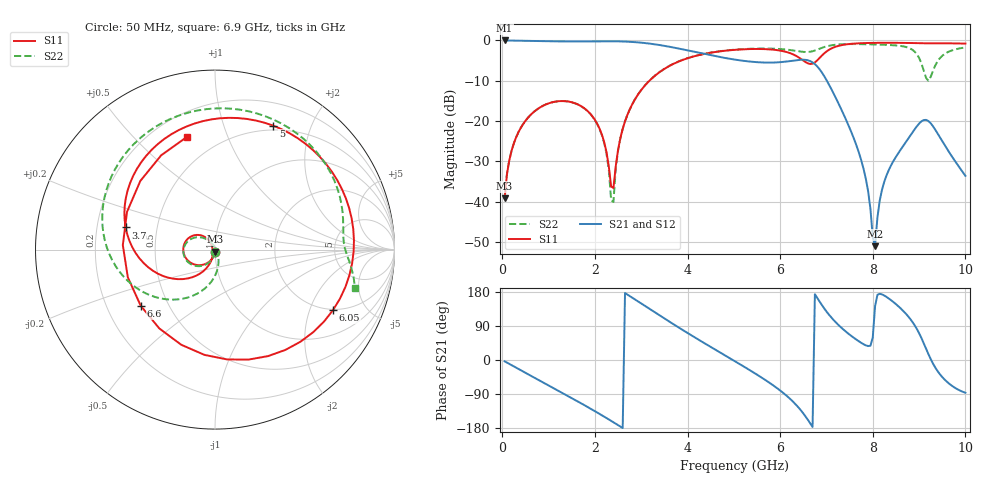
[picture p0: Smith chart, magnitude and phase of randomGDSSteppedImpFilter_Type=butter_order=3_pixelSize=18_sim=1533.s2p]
! freq	dB(S11)	phase(S11)	dB(S12)	phase(S12)
!  dB(S21)	phase(S21)	dB(S22)	phase(S22)
!S-par simulation data
#  GHz  S  DB  R 50
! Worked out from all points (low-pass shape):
!   200 points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, 50 MHz to 10 GHz, reference 50 ohm
!   highest |S21| = -0.01 dB at 50 MHz (marker M1); lowest = -51.1 dB at 8.05 GHz (marker M2)
!   |S21| within 3 dB of the highest: start of sweep to 4.22 GHz
!   lowest |S11| = -39.2 dB at 50 MHz (marker M3), VSWR 1.02, Z = 49.9 - j1.09 ohm
!   |S11| at or under -10 dB: start of sweep to 3.178 GHz
!   |S22| runs from -40.1 to -0.9 dB; largest |S21 - S12| = 0
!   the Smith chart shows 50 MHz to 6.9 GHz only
!   S11 on the Smith chart (normalised r, x): 50 MHz: 1.00, -0.02; 3.7 GHz: 0.33, +0.11; 5 GHz: 0.45, +1.48; 6.05 GHz: 1.96, -2.91; 6.6 GHz: 0.35, -0.30; 6.9 GHz: 0.34, +0.73
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0.05  -39.21 -92.7  -0.01 -3.4  -0.01 -3.4  -39.20 -92.4
0.55  -19.24 -129.0  -0.10 -37.1  -0.10 -37.1  -19.24 -126.1
1.75  -16.67 148.3  -0.24 -117.6  -0.24 -117.6  -16.69 156.3
2.15  -23.36 124.4  -0.20 -145.8  -0.20 -145.8  -23.49 126.8
2.4  -36.65 -144.8  -0.21 -164.3  -0.21 -164.3  -40.11 -28.4
2.65  -20.09 -112.6  -0.28 176.6  -0.28 176.6  -20.09 -80.4
3.4  -7.84 -169.5  -1.15 117.5  -1.15 117.5  -7.81 -138.1
3.7  -5.80 166.1  -1.77 94.1  -1.77 94.1  -5.77 -160.0
5  -2.35 64.8  -4.72 -1.6  -4.72 -1.6  -2.31 110.9
5.05  -2.31 61.0  -4.81 -5.2  -4.81 -5.2  -2.26 107.5
6.05  -2.63 -27.2  -5.35 -85.2  -5.35 -85.2  -2.18 37.3
6.6  -5.70 -142.9  -4.93 -158.0  -4.93 -158.0  -2.87 2.8
6.7  -5.78 177.2  -5.45 -176.7  -5.45 -176.7  -2.68 -2.1
6.9  -3.77 103.8  -7.94 145.1  -7.94 145.1  -1.84 -15.4
7.35  -1.12 20.4  -17.85 82.1  -17.85 82.1  -0.94 -57.4
8.05  -0.60 -33.6  -51.08 142.1  -51.08 142.1  -1.00 -126.8
8.35  -0.59 -49.0  -32.06 161.9  -32.06 161.9  -1.13 -160.4
8.9  -0.66 -72.7  -22.14 92.4  -22.14 92.4  -2.72 108.3
9.1  -0.71 -80.0  -19.76 44.4  -19.76 44.4  -7.45 27.8
9.25  -0.71 -85.2  -20.55 2.7  -20.55 2.7  -9.07 -90.7
9.5  -0.70 -94.1  -25.02 -45.0  -25.02 -45.0  -3.81 176.1
10  -0.78 -111.1  -33.62 -86.4  -33.62 -86.4  -1.73 106.0
